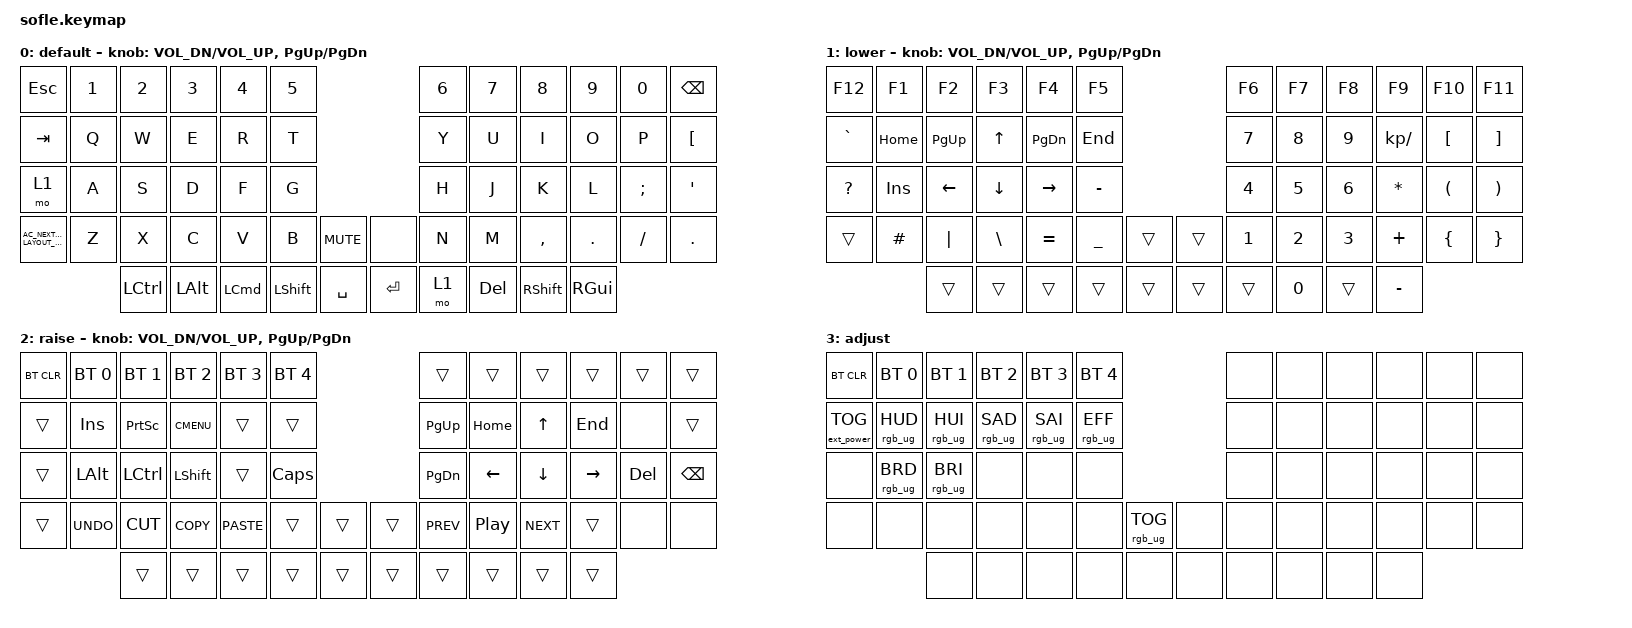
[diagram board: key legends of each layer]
/*
 * Copyright (c) 2020 The ZMK Contributors
 *
 * SPDX-License-Identifier: MIT
 */

#include <behaviors.dtsi>
#include <dt-bindings/zmk/bt.h>
#include <dt-bindings/zmk/ext_power.h>
#include <dt-bindings/zmk/keys.h>
#include <dt-bindings/zmk/rgb.h>

#define BASE 0
#define LOWER 1
#define RAISE 2
#define ADJUST 3

/ {
    // Activate ADJUST layer by pressing raise and lower

    conditional_layers {
        compatible = "zmk,conditional-layers";

        adjust_layer {
            if-layers = <LOWER RAISE>;
            then-layer = <ADJUST>;
        };
    };

    combos { compatible = "zmk,combos"; };

    keymap {
        compatible = "zmk,keymap";

        default_layer {
            display-name = "default";

            // ------------------------------------------------------------------------------------------------------------
            // |   `   |  1  |  2  |  3   |  4   |  5   |                   |  6   |  7    |  8    |  9   |   0   |   =   |
            // |  ESC  |  Q  |  W  |  E   |  R   |  T   |                   |  Y   |  U    |  I    |  O   |   P   |   [   |
            // |  TAB  |  A  |  S  |  D   |  F   |  G   |                   |  H   |  J    |  K    |  L   |   ;   |   ]   |
            // | LCTRL |  Z  |  X  |  C   |  V   |  B   |  MUTE  |  |       |  N   |  M    |  ,    |  .   |   /   |   '   |
            //               | GUI | DEL  |LSHIFT| LOWER|  ENTER |  | SPACE | RAISE|BACKSPC| ALT   | GUI  |

            bindings = <
&kp ESCAPE                            &kp N1  &kp N2     &kp N3        &kp N4            &kp N5                                 &kp N6  &kp N7      &kp N8           &kp N9    &kp N0    &kp BACKSPACE
&kp TAB                               &kp Q   &kp W      &kp E         &kp R             &kp T                                  &kp Y   &kp U       &kp I            &kp O     &kp P     &kp LEFT_BRACKET
&mo 1                                 &kp A   &kp S      &kp D         &kp F             &kp G                                  &kp H   &kp J       &kp K            &kp L     &kp SEMI  &kp SQT
&kp C_AC_NEXT_KEYBOARD_LAYOUT_SELECT  &kp Z   &kp X      &kp C         &kp V             &kp B           &kp C_MUTE    &none    &kp N   &kp M       &kp COMMA        &kp DOT   &kp FSLH  &kp DOT
                                              &kp LCTRL  &kp LEFT_ALT  &kp LEFT_COMMAND  &kp LEFT_SHIFT  &kp SPACE     &kp RET  &mo 1   &kp DELETE  &kp RIGHT_SHIFT  &kp RGUI
            >;

            sensor-bindings =
                <&inc_dec_kp C_VOL_DN C_VOLUME_UP>,
                <&inc_dec_kp PG_UP PG_DN>;
        };

        lower_layer {
            display-name = "lower";

            // TODO: Some binds are waiting for shifted keycode support.
            // ------------------------------------------------------------------------------------------------------------
            // |       |  F1 |  F2 |  F3  |  F4  |  F5  |                   |  F6  |  F7   |  F8   |  F9  |  F10  |  F11  |
            // |   `   |  1  |  2  |  3   |  4   |  5   |                   |  6   |  7    |  8    |  9   |   0   |  F12  |
            // |       |  !  |  @  |  #   |  $   |  %   |                   |  ^   |  &    |  *    |  (   |   )   |   |   |
            // |       |  =  |  -  |  +   |  {   |  }   |        |  |       |  [   |  ]    |  ;    |  :   |   \   |       |
            //               |     |      |      |      |        |  |       |      |       |       |      |

            bindings = <
&kp F12       &kp F1    &kp F2       &kp F3         &kp F4         &kp F5                            &kp F6        &kp F7        &kp F8        &kp F9        &kp F10               &kp F11
&kp GRAVE     &kp HOME  &kp PAGE_UP  &kp UP         &kp PAGE_DOWN  &kp END                           &kp NUMBER_7  &kp NUMBER_8  &kp NUMBER_9  &kp KP_SLASH  &kp LEFT_BRACKET      &kp RIGHT_BRACKET
&kp QUESTION  &kp INS   &kp LEFT     &kp DOWN       &kp RIGHT      &kp MINUS                         &kp NUMBER_4  &kp NUMBER_5  &kp NUMBER_6  &kp ASTERISK  &kp LEFT_PARENTHESIS  &kp RIGHT_PARENTHESIS
&trans        &kp HASH  &kp PIPE     &kp BACKSLASH  &kp EQUAL      &kp UNDERSCORE  &trans    &trans  &kp NUMBER_1  &kp NUMBER_2  &kp NUMBER_3  &kp PLUS      &kp LEFT_BRACE        &kp RIGHT_BRACE
                        &trans       &trans         &trans         &trans          &trans    &trans  &trans        &kp NUMBER_0  &trans        &kp MINUS
            >;

            sensor-bindings =
                <&inc_dec_kp C_VOL_DN C_VOL_UP>,
                <&inc_dec_kp PG_UP PG_DN>;
        };

        raise_layer {
            display-name = "raise";

            // ------------------------------------------------------------------------------------------------------------
            // | BTCLR | BT1  | BT2  |  BT3  |  BT4  |  BT5 |                |      |      |       |      |       |       |
            // |       | INS  | PSCR | GUI   |       |      |                | PGUP |      |   ^   |      |       |       |
            // |       | ALT  | CTRL | SHIFT |       | CAPS |                | PGDN |   <- |   v   |  ->  |  DEL  | BKSPC |
            // |       | UNDO | CUT  | COPY  | PASTE |      |      |  |      |      |      |       |      |       |       |
            //                |      |       |       |      |      |  |      |      |      |       |      |

            bindings = <
&bt BT_CLR  &bt BT_SEL 0  &bt BT_SEL 1  &bt BT_SEL 2  &bt BT_SEL 3  &bt BT_SEL 4                    &trans      &trans            &trans      &trans     &trans   &trans
&trans      &kp INS       &kp PSCRN     &kp K_CMENU   &trans        &trans                          &kp PG_UP   &kp HOME          &kp UP      &kp END    &none    &trans
&trans      &kp LALT      &kp LCTRL     &kp LSHFT     &trans        &kp CLCK                        &kp PG_DN   &kp LEFT          &kp DOWN    &kp RIGHT  &kp DEL  &kp BSPC
&trans      &kp K_UNDO    &kp K_CUT     &kp K_COPY    &kp K_PASTE   &trans        &trans    &trans  &kp C_PREV  &kp C_PLAY_PAUSE  &kp C_NEXT  &trans     &none    &none
                          &trans        &trans        &trans        &trans        &trans    &trans  &trans      &trans            &trans      &trans
            >;

            sensor-bindings =
                <&inc_dec_kp C_VOL_DN C_VOL_UP>,
                <&inc_dec_kp PG_UP PG_DN>;
        };

        adjust_layer {
            // ----------------------------------------------------------------------------------------------------------------------------
            // | BTCLR  |  BT1    |  BT2    |   BT3   |   BT4   |   BT5   |                  |      |      |       |      |       |       |
            // | EXTPWR | RGB_HUD | RGB_HUI | RGB_SAD | RGB_SAI | RGB_EFF |                  |      |      |       |      |       |       |
            // |        | RGB_BRD | RGB_BRI |         |         |         |                  |      |      |       |      |       |       |
            // |        |         |         |         |         |         | RGB_TOG | |      |      |      |       |      |       |       |
            //                    |         |         |         |         |         | |      |      |      |       |      |

            display-name = "adjust";
            bindings = <
&bt BT_CLR         &bt BT_SEL 0     &bt BT_SEL 1     &bt BT_SEL 2     &bt BT_SEL 3     &bt BT_SEL 4                               &none  &none  &none  &none  &none  &none
&ext_power EP_TOG  &rgb_ug RGB_HUD  &rgb_ug RGB_HUI  &rgb_ug RGB_SAD  &rgb_ug RGB_SAI  &rgb_ug RGB_EFF                            &none  &none  &none  &none  &none  &none
&none              &rgb_ug RGB_BRD  &rgb_ug RGB_BRI  &none            &none            &none                                      &none  &none  &none  &none  &none  &none
&none              &none            &none            &none            &none            &none            &rgb_ug RGB_TOG    &none  &none  &none  &none  &none  &none  &none
                                    &none            &none            &none            &none            &none              &none  &none  &none  &none  &none
            >;
        };
    };
};
